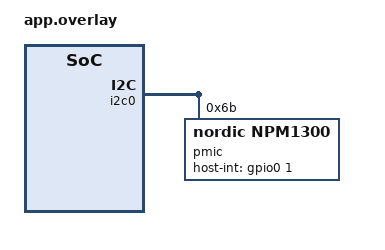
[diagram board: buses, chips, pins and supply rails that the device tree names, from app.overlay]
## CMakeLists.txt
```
# SPDX-FileCopyrightText: Copyright The Zephyr Project Contributors
# SPDX-License-Identifier: Apache-2.0

cmake_minimum_required(VERSION 3.28.0)
find_package(Zephyr REQUIRED HINTS $ENV{ZEPHYR_BASE})
project(npm13xx_callbacks)

target_sources(app PRIVATE
  src/main.c
)
```

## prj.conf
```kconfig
# SPDX-FileCopyrightText: Copyright The Zephyr Project Contributors
# SPDX-License-Identifier: Apache-2.0

CONFIG_ZTEST=y
CONFIG_ZTEST_FAIL_FAST=y
CONFIG_MFD=y
CONFIG_GPIO=y
CONFIG_GPIO_EMUL=y
CONFIG_I2C=y
CONFIG_I2C_EMUL=y
CONFIG_EMUL=y
CONFIG_COMPILER_WARNINGS_AS_ERRORS=y
```

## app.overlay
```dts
/*
 * SPDX-FileCopyrightText: Copyright The Zephyr Project Contributors
 * SPDX-License-Identifier: Apache-2.0
 */

&i2c0 {
	status = "okay";

	pmic: pmic@6b {
		compatible = "nordic,npm1300";
		reg = <0x6b>;
		host-int-gpios = <&gpio0 1 GPIO_ACTIVE_HIGH>;
		pmic-int-pin = <0>;
	};
};
```

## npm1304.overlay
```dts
/*
 * SPDX-FileCopyrightText: Copyright The Zephyr Project Contributors
 * SPDX-License-Identifier: Apache-2.0
 */

&pmic {
	compatible = "nordic,npm1304";
};
```

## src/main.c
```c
/*
 * SPDX-FileCopyrightText: Copyright The Zephyr Project Contributors
 * SPDX-License-Identifier: Apache-2.0
 */

#include <string.h>

#include <zephyr/drivers/emul.h>
#include <zephyr/drivers/gpio/gpio_emul.h>
#include <zephyr/drivers/i2c_emul.h>
#include <zephyr/drivers/mfd/npm13xx.h>
#include <zephyr/kernel.h>
#include <zephyr/ztest.h>

#define MAIN_SIZE 0x26U
#define CHARGE    BIT(NPM13XX_EVENT_CHG_COMPLETED)
#define VBUS      BIT(NPM13XX_EVENT_VBUS_DETECTED)

static const struct device *const pmic = DEVICE_DT_GET(DT_NODELABEL(pmic));
static const struct gpio_dt_spec irq = GPIO_DT_SPEC_GET(DT_NODELABEL(pmic), host_int_gpios);
static const uint8_t offsets[] = {0x0BU, 0x0FU, 0x13U, 0x17U, 0x23U};
static const struct {
	uint8_t offset;
	uint8_t mask;
} event_registers[] = {
	{0x0BU, 0x10U}, {0x0BU, 0x20U}, {0x0FU, 0x01U}, {0x0FU, 0x02U}, {0x13U, 0x01U},
	{0x13U, 0x02U}, {0x13U, 0x08U}, {0x17U, 0x01U}, {0x17U, 0x02U}, {0x23U, 0x01U},
	{0x23U, 0x02U}, {0x23U, 0x04U}, {0x23U, 0x08U}, {0x23U, 0x10U},
};

static struct {
	uint8_t pending[MAIN_SIZE];
	uint8_t enabled[MAIN_SIZE];
	uint32_t reads;
	uint32_t clears;
	uint32_t fail_clear_at;
	bool failed_clear_lands;
	bool fail_read;
	bool injecting;
} registers;

struct call {
	uint32_t subscriber;
	uint32_t events;
	uint32_t earlier_clears;
	uint32_t pending_events;
};

static struct call calls[3 * ARRAY_SIZE(event_registers)];
static uint32_t call_count;
static K_SEM_DEFINE(idle, 0, 1);

static bool irq_pending(void)
{
	for (size_t i = 0; i < ARRAY_SIZE(offsets); i++) {
		if ((registers.pending[offsets[i]] & registers.enabled[offsets[i]]) != 0U) {
			return true;
		}
	}
	return false;
}

static int transfer(const struct emul *target, struct i2c_msg *msgs, int num_msgs, int addr)
{
	ARG_UNUSED(target);
	ARG_UNUSED(addr);

	if (num_msgs == 2 && msgs[0].len == 2U && msgs[0].buf[0] == 0U &&
	    (msgs[1].flags & I2C_MSG_READ) != 0U) {
		uint8_t offset = msgs[0].buf[1];

		if (offset >= MAIN_SIZE || msgs[1].len > MAIN_SIZE - offset) {
			return -EIO;
		}
		registers.reads++;
		if (registers.fail_read) {
			registers.fail_read = false;
			return -EIO;
		}
		memcpy(msgs[1].buf, &registers.pending[offset], msgs[1].len);
		if (registers.injecting && !irq_pending()) {
			k_sem_give(&idle);
		}
		return 0;
	}

	if (num_msgs != 1 || msgs[0].len != 3U || (msgs[0].flags & I2C_MSG_READ) != 0U) {
		return -EIO;
	}
	if (msgs[0].buf[0] != 0U) {
		return 0;
	}

	for (size_t i = 0; i < ARRAY_SIZE(offsets); i++) {
		uint8_t offset = offsets[i];

		if (msgs[0].buf[1] == offset + 1U) {
			registers.enabled[offset] |= msgs[0].buf[2];
			return 0;
		}
		if (msgs[0].buf[1] == offset) {
			bool fail = ++registers.clears == registers.fail_clear_at;

			if (!fail || registers.failed_clear_lands) {
				registers.pending[offset] &= ~msgs[0].buf[2];
				if (registers.injecting) {
					int ret = gpio_emul_input_set(irq.port, irq.pin,
								      irq_pending());

					if (ret < 0) {
						return ret;
					}
				}
			}
			if (fail) {
				return -EIO;
			}
			if (registers.injecting && !irq_pending()) {
				k_sem_give(&idle);
			}
			return 0;
		}
	}
	return -EIO;
}

static const struct i2c_emul_api emul_api = {
	.transfer = transfer,
};

static int emul_init(const struct emul *target, const struct device *parent)
{
	ARG_UNUSED(target);
	ARG_UNUSED(parent);
	return 0;
}

EMUL_DT_DEFINE(DT_NODELABEL(pmic), emul_init, NULL, NULL, &emul_api, NULL);

struct subscriber {
	struct mfd_npm13xx_event_callback cb;
	uint32_t index;
	bool remove_self;
};

static struct subscriber subscribers[3];

static void handler(const struct device *dev, struct mfd_npm13xx_event_callback *cb,
		    npm13xx_event_t events)
{
	struct subscriber *sub = CONTAINER_OF(cb, struct subscriber, cb);
	uint32_t pending = 0U;

	zassert_equal_ptr(dev, pmic);
	zassert_equal_ptr(k_current_get(), k_work_queue_thread_get(&k_sys_work_q));
	zassert_not_equal(events, 0U);
	zassert_equal(events & (events - 1U), 0U, "Expected one event per call");
	zassert_equal(events & ~cb->event_mask, 0U);
	zassert_true(call_count < ARRAY_SIZE(calls));
	for (size_t i = 0; i < ARRAY_SIZE(event_registers); i++) {
		uint8_t latched = registers.pending[event_registers[i].offset];

		if ((latched & event_registers[i].mask) != 0U) {
			pending |= BIT(i);
		}
	}
	calls[call_count++] = (struct call){sub->index, events, registers.clears, pending};
	if (sub->remove_self) {
		zassert_ok(mfd_npm13xx_remove_callback(dev, cb));
	}
}

static void barrier_handler(struct k_work *work)
{
	ARG_UNUSED(work);
}

static K_WORK_DEFINE(barrier, barrier_handler);

static void dispatch(void)
{
	struct k_work_sync sync;

	registers.reads = 0U;
	registers.clears = 0U;
	zassert_true(irq_pending(), "Pending event interrupt is not enabled");
	registers.injecting = true;
	zassert_ok(gpio_emul_input_set(irq.port, irq.pin, 1));
	zassert_ok(k_sem_take(&idle, K_SECONDS(1)), "Event processing did not reach idle");
	zassert_true(k_work_submit(&barrier) >= 0);
	(void)k_work_flush(&barrier, &sync);
	registers.injecting = false;
}

static void subscribe(size_t index, uint32_t mask)
{
	subscribers[index].cb.handler = handler;
	subscribers[index].cb.event_mask = mask;
	subscribers[index].index = index;
	zassert_ok(mfd_npm13xx_add_callback(pmic, &subscribers[index].cb));
	for (size_t i = 0; i < ARRAY_SIZE(event_registers); i++) {
		if ((mask & BIT(i)) != 0U) {
			uint8_t enabled = registers.enabled[event_registers[i].offset];

			zassert_equal(enabled & event_registers[i].mask, event_registers[i].mask,
				      "Subscribed event interrupt is not enabled");
		}
	}
}

static void before(void *fixture)
{
	ARG_UNUSED(fixture);
	zassert_true(device_is_ready(pmic));
	for (size_t i = 0; i < ARRAY_SIZE(subscribers); i++) {
		subscribers[i].cb.handler = handler;
		int ret = mfd_npm13xx_remove_callback(pmic, &subscribers[i].cb);

		zassert_true(ret == 0 || ret == -EINVAL);
	}
	zassert_ok(gpio_emul_input_set(irq.port, irq.pin, 0));
	memset(&registers, 0, sizeof(registers));
	memset(subscribers, 0, sizeof(subscribers));
	memset(calls, 0, sizeof(calls));
	call_count = 0U;
	k_sem_reset(&idle);
}

static void expect_call(uint32_t position, uint32_t subscriber, uint32_t event,
			uint32_t earlier_clears)
{
	zassert_true(position < call_count);
	zassert_equal(calls[position].subscriber, subscriber);
	zassert_equal(calls[position].events, event);
	zassert_equal(calls[position].earlier_clears, earlier_clears);
	zassert_equal(calls[position].pending_events & event, event,
		      "Event cleared before notification");
}

ZTEST(npm13xx_callbacks, test_two_events_notify_before_each_clear)
{
	subscribe(0, CHARGE | VBUS);
	subscribe(1, CHARGE | VBUS);
	registers.pending[0x0B] = 0x10U;
	registers.pending[0x17] = 0x01U;

	dispatch();
	zassert_equal(call_count, 4U);
	expect_call(0, 1, CHARGE, 0);
	expect_call(1, 0, CHARGE, 0);
	expect_call(2, 1, VBUS, 1);
	expect_call(3, 0, VBUS, 1);
	zassert_equal(registers.clears, 2U);
}

ZTEST(npm13xx_callbacks, test_filters_subscribers)
{
	subscribe(0, CHARGE);
	subscribe(1, VBUS);
	subscribe(2, BIT(NPM13XX_EVENT_CHG_ERROR));
	registers.pending[0x0B] = 0x10U;
	registers.pending[0x17] = 0x01U;
	dispatch();
	zassert_equal(call_count, 2U);
	expect_call(0, 0, CHARGE, 0);
	expect_call(1, 1, VBUS, 1);
}

ZTEST(npm13xx_callbacks, test_self_removal_preserves_other_subscriber)
{
	subscribe(0, CHARGE | VBUS);
	subscribe(1, CHARGE | VBUS);
	subscribers[1].remove_self = true;
	registers.pending[0x0B] = 0x10U;
	registers.pending[0x17] = 0x01U;
	dispatch();
	zassert_equal(call_count, 3U);
	expect_call(0, 1, CHARGE, 0);
	expect_call(1, 0, CHARGE, 0);
	expect_call(2, 0, VBUS, 1);
}

ZTEST(npm13xx_callbacks, test_repeated_add_moves_callback_without_duplication)
{
	subscribe(0, VBUS);
	subscribe(1, VBUS);
	zassert_ok(mfd_npm13xx_add_callback(pmic, &subscribers[0].cb));
	registers.pending[0x17] = 0x01U;
	dispatch();
	zassert_equal(call_count, 2U);
	expect_call(0, 0, VBUS, 0);
	expect_call(1, 1, VBUS, 0);
}

static void check_clear_error(uint32_t failure, bool lands)
{
	subscribe(0, CHARGE | VBUS);
	registers.pending[0x0B] = 0x10U;
	registers.pending[0x17] = 0x01U;
	registers.fail_clear_at = failure;
	registers.failed_clear_lands = lands;
	dispatch();
	zassert_true(registers.reads >= 2U);
	zassert_equal(registers.clears, lands ? 2U : 3U);
	zassert_equal(call_count, lands ? 2U : 3U);
	expect_call(0, 0, CHARGE, 0);
	if (failure == 1U && !lands) {
		expect_call(1, 0, CHARGE, 1);
		expect_call(2, 0, VBUS, 2);
	} else {
		expect_call(1, 0, VBUS, 1);
		if (!lands) {
			expect_call(2, 0, VBUS, 2);
		}
	}
}

ZTEST(npm13xx_callbacks, test_clear_errors_retry_captured_events)
{
	for (uint32_t failure = 1U; failure <= 2U; failure++) {
		for (uint32_t lands = 0U; lands < 2U; lands++) {
			before(NULL);
			check_clear_error(failure, lands != 0U);
		}
	}
}

ZTEST(npm13xx_callbacks, test_read_failure_retries)
{
	subscribe(0, VBUS);
	registers.pending[0x17] = 0x01U;
	registers.fail_read = true;
	dispatch();
	zassert_true(registers.reads >= 2U);
	zassert_equal(call_count, 1U);
	expect_call(0, 0, VBUS, 0);
}

ZTEST(npm13xx_callbacks, test_remove_registered_and_unregistered_callback)
{
	subscribers[0].cb.handler = handler;
	zassert_equal(mfd_npm13xx_remove_callback(pmic, &subscribers[0].cb), -EINVAL);
	subscribe(0, VBUS);
	zassert_ok(mfd_npm13xx_remove_callback(pmic, &subscribers[0].cb));
	zassert_equal(mfd_npm13xx_remove_callback(pmic, &subscribers[0].cb), -EINVAL);
	registers.pending[0x17] = 0x01U;
	dispatch();
	zassert_equal(call_count, 0U);
	zassert_equal(registers.clears, 1U);
}

ZTEST(npm13xx_callbacks, test_all_event_bit_mappings)
{
	zassert_equal(ARRAY_SIZE(event_registers), NPM13XX_EVENT_MAX);
	for (size_t i = 0; i < ARRAY_SIZE(event_registers); i++) {
		subscribe(0, BIT(i));
		registers.pending[event_registers[i].offset] = event_registers[i].mask;
		dispatch();
		zassert_equal(call_count, 1U);
		expect_call(0, 0, BIT(i), 0);
		zassert_ok(mfd_npm13xx_remove_callback(pmic, &subscribers[0].cb));
		call_count = 0U;
	}
}

ZTEST(npm13xx_callbacks, test_same_bank_events_remain_pending_until_notification)
{
	uint32_t first = BIT(NPM13XX_EVENT_GPIO1_EDGE);
	uint32_t second = BIT(NPM13XX_EVENT_GPIO2_EDGE);

	subscribe(0, first | second);
	registers.pending[0x23] = 0x06U;
	dispatch();
	zassert_equal(call_count, 2U);
	expect_call(0, 0, first, 0);
	expect_call(1, 0, second, 1);
}

ZTEST_SUITE(npm13xx_callbacks, NULL, NULL, before, NULL, NULL);
```
